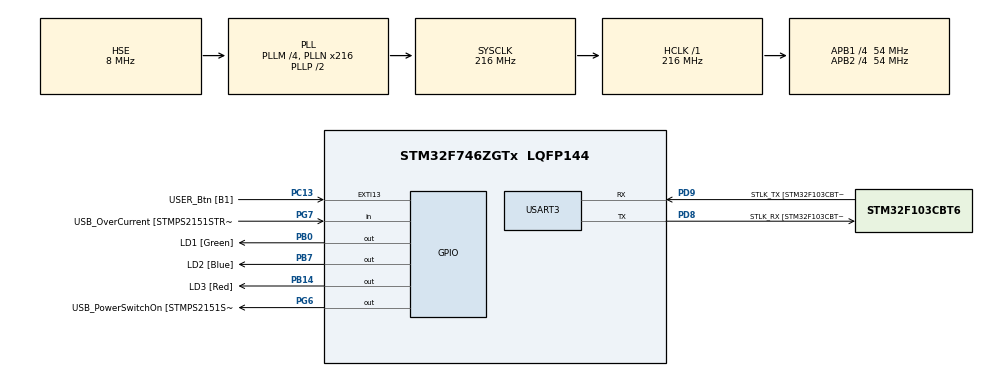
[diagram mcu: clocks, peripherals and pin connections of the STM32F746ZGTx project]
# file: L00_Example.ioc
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Mcu.Family=STM32F7
Mcu.Name=STM32F746ZGTx
Mcu.Package=LQFP144
NVIC.PriorityGroup=NVIC_PRIORITYGROUP_4
PA1.GPIO_Label=RMII_REF_CLK [LAN8742A-CZ-TR_REFCLK0]
PA1.Signal=ETH_REF_CLK
PA10.GPIO_Label=USB_ID
PA10.Signal=USB_OTG_FS_ID
PA11.GPIO_Label=USB_DM
PA11.Signal=USB_OTG_FS_DM
PA12.GPIO_Label=USB_DP
PA12.Signal=USB_OTG_FS_DP
PA13.GPIO_Label=TMS
PA13.Mode=Serial_Wire
PA13.Signal=SYS_JTMS-SWDIO
PA14.GPIO_Label=TCK
PA14.Mode=Serial_Wire
PA14.Signal=SYS_JTCK-SWCLK
PA2.GPIO_Label=RMII_MDIO [LAN8742A-CZ-TR_MDIO]
PA2.Signal=ETH_MDIO
PA7.GPIO_Label=RMII_CRS_DV [LAN8742A-CZ-TR_CRS_DV]
PA7.Signal=ETH_CRS_DV
PA8.GPIO_Label=USB_SOF [TP1]
PA8.Signal=USB_OTG_FS_SOF
PA9.GPIO_Label=USB_VBUS
PA9.Signal=USB_OTG_FS_VBUS
PB0.GPIO_Label=LD1 [Green]
PB0.Signal=GPIO_Output
PB13.GPIO_Label=RMII_TXD1 [LAN8742A-CZ-TR_TXD1]
PB13.Signal=ETH_TXD1
PB14.GPIO_Label=LD3 [Red]
PB14.Signal=GPIO_Output
PB3.GPIO_Label=SW0
PB3.Signal=SYS_JTDO-SWO
PB7.GPIO_Label=LD2 [Blue]
PB7.Signal=GPIO_Output
PC1.GPIO_Label=RMII_MDC [LAN8742A-CZ-TR_MDC]
PC1.Signal=ETH_MDC
PC13.GPIO_Label=USER_Btn [B1]
PC13.Signal=GPXTI13
PC14/OSC32_IN.Mode=LSE-External-Oscillator
PC14/OSC32_IN.Signal=RCC_OSC32_IN
PC15/OSC32_OUT.Mode=LSE-External-Oscillator
PC15/OSC32_OUT.Signal=RCC_OSC32_OUT
PC4.GPIO_Label=RMII_RXD0 [LAN8742A-CZ-TR_RXD0]
PC4.Signal=ETH_RXD0
PC5.GPIO_Label=RMII_RXD1 [LAN8742A-CZ-TR_RXD1]
PC5.Signal=ETH_RXD1
PD8.GPIO_Label=STLK_RX [STM32F103CBT6_PA3]
PD8.GPIO_PuPd=GPIO_PULLUP
PD8.Mode=Asynchronous
PD8.Signal=USART3_TX
PD9.GPIO_Label=STLK_TX [STM32F103CBT6_PA2]
PD9.GPIO_PuPd=GPIO_PULLUP
PD9.Mode=Asynchronous
PD9.Signal=USART3_RX
PG11.GPIO_Label=RMII_TX_EN [LAN8742A-CZ-TR_TXEN]
PG11.Signal=ETH_TX_EN
PG13.GPIO_Label=RMII_TXD0 [LAN8742A-CZ-TR_TXD0]
PG13.Signal=ETH_TXD0
PG6.GPIO_Label=USB_PowerSwitchOn [STMPS2151STR_EN]
PG6.Signal=GPIO_Output
PG7.GPIO_Label=USB_OverCurrent [STMPS2151STR_FAULT]
PG7.Signal=GPIO_Input
PH0/OSC_IN.GPIO_Label=MCO [STM32F103CBT6_PA8]
PH0/OSC_IN.Mode=HSE-External-Clock-Source
PH0/OSC_IN.Signal=RCC_OSC_IN
PH1/OSC_OUT.Mode=HSE-External-Clock-Source
PH1/OSC_OUT.Signal=RCC_OSC_OUT
ProjectManager.HeapSize=0x200
ProjectManager.StackSize=0x400
ProjectManager.TargetToolchain=STM32CubeIDE
RCC.48MHZClocksFreq_Value=24000000
RCC.AHBFreq_Value=216000000
RCC.APB1CLKDivider=RCC_HCLK_DIV4
RCC.APB1Freq_Value=54000000
RCC.APB1TimFreq_Value=108000000
RCC.APB2CLKDivider=RCC_HCLK_DIV4
RCC.APB2Freq_Value=54000000
RCC.APB2TimFreq_Value=108000000
RCC.CortexFreq_Value=216000000
RCC.HCLKFreq_Value=216000000
RCC.HSE_VALUE=8000000
RCC.HSI_VALUE=16000000
RCC.PLLM=4
RCC.PLLMUL=RCC_PLL_MUL9
RCC.PLLN=216
RCC.PLLQ=3
RCC.PLLSourceVirtual=RCC_PLLSOURCE_HSE
RCC.PRESCALERUSB=RCC_USBCLKSOURCE_PLL_DIV1_5
RCC.SYSCLKFreq_VALUE=216000000
RCC.SYSCLKSource=RCC_SYSCLKSOURCE_PLLCLK
RCC.SYSCLKSourceVirtual=RCC_SYSCLKSOURCE_PLLCLK
RCC.USBFreq_Value=144000000
RCC.VCOOutputFreq_Value=432000000
USART3.VirtualMode-Asynchronous=VM_ASYNC
board=NUCLEO-F746ZG

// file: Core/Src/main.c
/* USER CODE BEGIN Header */
/**
  ******************************************************************************
  * @file           : main.c
  * @brief          : Main program body
  ******************************************************************************
  * @attention
  *
  * Copyright (c) 2024 STMicroelectronics.
  * All rights reserved.
  *
  * This software is licensed under terms that can be found in the LICENSE file
  * in the root directory of this software component.
  * If no LICENSE file comes with this software, it is provided AS-IS.
  *
  ******************************************************************************
  */
/* USER CODE END Header */
#include "main.h"
#include "usart.h"
#include "gpio.h"

/* USER CODE BEGIN PD */
#define TASK 2
#if TASK == 2
#define LD_N 3
#endif // TASK #2
/* USER CODE END PD */

/* USER CODE BEGIN PV */
#if TASK == 1
GPIO_PinState LD1_State = GPIO_PIN_RESET;
#endif // TASK #1
#if TASK == 2
GPIO_PinState LD_State[LD_N] = { GPIO_PIN_RESET, };
GPIO_PinState USER_Btn_State = GPIO_PIN_RESET;
GPIO_PinState USER_Btn_StatePrev = GPIO_PIN_RESET;
uint8_t LD_Cnt = 0;
const uint16_t LD_Pins[LD_N] = {
    LD1_Pin,
    LD2_Pin,
    LD3_Pin
};
GPIO_TypeDef* LD_GPIO_Port = GPIOB;
#endif // TASK #2
/* USER CODE END PV */

void SystemClock_Config(void);

int main(void)
{

  /* MCU Configuration--------------------------------------------------------*/

  /* Reset of all peripherals, Initializes the Flash interface and the Systick. */
  HAL_Init();

  /* Configure the system clock */
  SystemClock_Config();

  /* Initialize all configured peripherals */
  MX_GPIO_Init();
  MX_USART3_UART_Init();

  /* Infinite loop */
  /* USER CODE BEGIN WHILE */
  while (1)
  {
    #if TASK == 1
    HAL_GPIO_TogglePin(LD1_GPIO_Port, LD1_Pin);
    LD1_State = HAL_GPIO_ReadPin(LD1_GPIO_Port, LD1_Pin);
    HAL_Delay(100);
    #endif // TASK #1
    #if TASK == 2
    USER_Btn_State = HAL_GPIO_ReadPin(USER_Btn_GPIO_Port, USER_Btn_Pin);
    if((USER_Btn_State == GPIO_PIN_SET) && (USER_Btn_StatePrev == GPIO_PIN_RESET))
    {
      LD_Cnt = (LD_Cnt+1) % (LD_N+1);

      for(int i = 0; i < LD_N; i++)
        HAL_GPIO_WritePin(LD_GPIO_Port, LD_Pins[i], GPIO_PIN_RESET);

      if(LD_Cnt > 0)
        HAL_GPIO_WritePin(LD_GPIO_Port, LD_Pins[LD_Cnt-1], GPIO_PIN_SET);

      for(int i = 0; i < LD_N; i++)
        LD_State[i] = HAL_GPIO_ReadPin(LD_GPIO_Port, LD_Pins[i]);
    }
    USER_Btn_StatePrev = USER_Btn_State;
    HAL_Delay(10);
    #endif // TASK #2
    /* USER CODE END WHILE */

  }
}

void SystemClock_Config(void)
{
  RCC_OscInitTypeDef RCC_OscInitStruct = {0};
  RCC_ClkInitTypeDef RCC_ClkInitStruct = {0};

  /** Configure LSE Drive Capability
  */
  HAL_PWR_EnableBkUpAccess();

  /** Configure the main internal regulator output voltage
  */
  __HAL_RCC_PWR_CLK_ENABLE();
  __HAL_PWR_VOLTAGESCALING_CONFIG(PWR_REGULATOR_VOLTAGE_SCALE1);

  /** Initializes the RCC Oscillators according to the specified parameters
  * in the RCC_OscInitTypeDef structure.
  */
  RCC_OscInitStruct.OscillatorType = RCC_OSCILLATORTYPE_HSE;
  RCC_OscInitStruct.HSEState = RCC_HSE_BYPASS;
  RCC_OscInitStruct.PLL.PLLState = RCC_PLL_ON;
  RCC_OscInitStruct.PLL.PLLSource = RCC_PLLSOURCE_HSE;
  RCC_OscInitStruct.PLL.PLLM = 4;
  RCC_OscInitStruct.PLL.PLLN = 216;
  RCC_OscInitStruct.PLL.PLLP = RCC_PLLP_DIV2;
  RCC_OscInitStruct.PLL.PLLQ = 3;
  if (HAL_RCC_OscConfig(&RCC_OscInitStruct) != HAL_OK)
  {
    Error_Handler();
  }

  /** Activate the Over-Drive mode
  */
  if (HAL_PWREx_EnableOverDrive() != HAL_OK)
  {
    Error_Handler();
  }

  /** Initializes the CPU, AHB and APB buses clocks
  */
  RCC_ClkInitStruct.ClockType = RCC_CLOCKTYPE_HCLK|RCC_CLOCKTYPE_SYSCLK
                              |RCC_CLOCKTYPE_PCLK1|RCC_CLOCKTYPE_PCLK2;
  RCC_ClkInitStruct.SYSCLKSource = RCC_SYSCLKSOURCE_PLLCLK;
  RCC_ClkInitStruct.AHBCLKDivider = RCC_SYSCLK_DIV1;
  RCC_ClkInitStruct.APB1CLKDivider = RCC_HCLK_DIV4;
  RCC_ClkInitStruct.APB2CLKDivider = RCC_HCLK_DIV4;

  if (HAL_RCC_ClockConfig(&RCC_ClkInitStruct, FLASH_LATENCY_7) != HAL_OK)
  {
    Error_Handler();
  }
}

void Error_Handler(void)
{
  __disable_irq();
  while (1)
  {
  }
}
